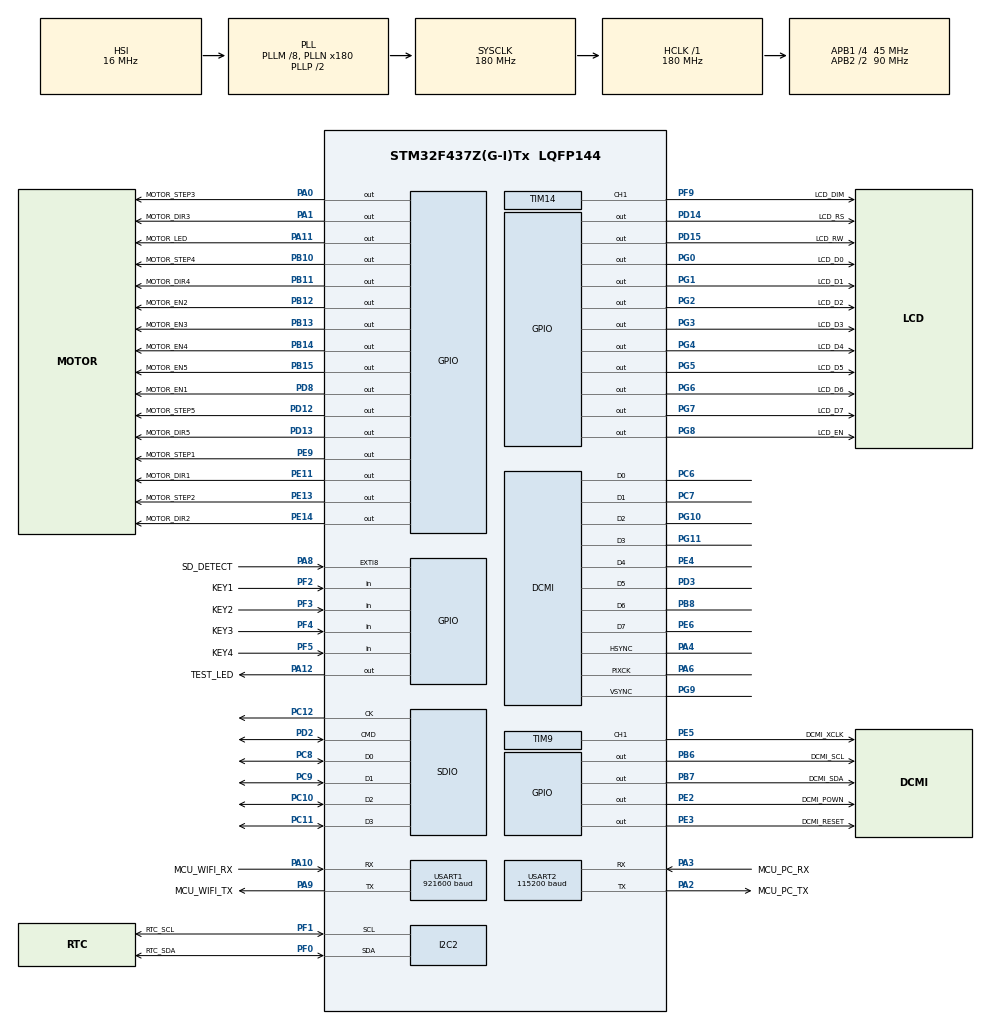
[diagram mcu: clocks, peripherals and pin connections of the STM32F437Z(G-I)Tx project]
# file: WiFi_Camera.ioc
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DCMI.JPEGMode=DCMI_JPEG_ENABLE
DCMI.PCKPolarity=DCMI_PCKPOLARITY_RISING
Dma.DCMI.2.Direction=DMA_PERIPH_TO_MEMORY
Dma.DCMI.2.FIFOMode=DMA_FIFOMODE_ENABLE
Dma.DCMI.2.FIFOThreshold=DMA_FIFO_THRESHOLD_FULL
Dma.DCMI.2.Instance=DMA2_Stream1
Dma.DCMI.2.MemBurst=DMA_MBURST_INC4
Dma.DCMI.2.MemDataAlignment=DMA_MDATAALIGN_WORD
Dma.DCMI.2.MemInc=DMA_MINC_ENABLE
Dma.DCMI.2.Mode=DMA_NORMAL
Dma.DCMI.2.PeriphBurst=DMA_PBURST_SINGLE
Dma.DCMI.2.PeriphDataAlignment=DMA_PDATAALIGN_WORD
Dma.DCMI.2.PeriphInc=DMA_PINC_DISABLE
Dma.DCMI.2.Priority=DMA_PRIORITY_LOW
Dma.Request0=SDIO_RX
Dma.Request1=SDIO_TX
Dma.Request2=DCMI
Dma.Request3=USART1_RX
Dma.Request4=USART1_TX
Dma.SDIO_RX.0.Direction=DMA_PERIPH_TO_MEMORY
Dma.SDIO_RX.0.FIFOMode=DMA_FIFOMODE_ENABLE
Dma.SDIO_RX.0.FIFOThreshold=DMA_FIFO_THRESHOLD_FULL
Dma.SDIO_RX.0.Instance=DMA2_Stream3
Dma.SDIO_RX.0.MemBurst=DMA_MBURST_INC4
Dma.SDIO_RX.0.MemDataAlignment=DMA_MDATAALIGN_WORD
Dma.SDIO_RX.0.MemInc=DMA_MINC_ENABLE
Dma.SDIO_RX.0.Mode=DMA_PFCTRL
Dma.SDIO_RX.0.PeriphBurst=DMA_PBURST_INC4
Dma.SDIO_RX.0.PeriphDataAlignment=DMA_PDATAALIGN_WORD
Dma.SDIO_RX.0.PeriphInc=DMA_PINC_DISABLE
Dma.SDIO_RX.0.Priority=DMA_PRIORITY_VERY_HIGH
Dma.SDIO_TX.1.Direction=DMA_MEMORY_TO_PERIPH
Dma.SDIO_TX.1.FIFOMode=DMA_FIFOMODE_ENABLE
Dma.SDIO_TX.1.FIFOThreshold=DMA_FIFO_THRESHOLD_FULL
Dma.SDIO_TX.1.Instance=DMA2_Stream6
Dma.SDIO_TX.1.MemBurst=DMA_MBURST_INC4
Dma.SDIO_TX.1.MemDataAlignment=DMA_MDATAALIGN_WORD
Dma.SDIO_TX.1.MemInc=DMA_MINC_ENABLE
Dma.SDIO_TX.1.Mode=DMA_PFCTRL
Dma.SDIO_TX.1.PeriphBurst=DMA_PBURST_INC4
Dma.SDIO_TX.1.PeriphDataAlignment=DMA_PDATAALIGN_WORD
Dma.SDIO_TX.1.PeriphInc=DMA_PINC_DISABLE
Dma.SDIO_TX.1.Priority=DMA_PRIORITY_VERY_HIGH
Dma.USART1_RX.3.Direction=DMA_PERIPH_TO_MEMORY
Dma.USART1_RX.3.FIFOMode=DMA_FIFOMODE_DISABLE
Dma.USART1_RX.3.Instance=DMA2_Stream2
Dma.USART1_RX.3.MemDataAlignment=DMA_MDATAALIGN_BYTE
Dma.USART1_RX.3.MemInc=DMA_MINC_ENABLE
Dma.USART1_RX.3.Mode=DMA_NORMAL
Dma.USART1_RX.3.PeriphDataAlignment=DMA_PDATAALIGN_BYTE
Dma.USART1_RX.3.PeriphInc=DMA_PINC_DISABLE
Dma.USART1_RX.3.Priority=DMA_PRIORITY_LOW
Dma.USART1_TX.4.Direction=DMA_MEMORY_TO_PERIPH
Dma.USART1_TX.4.FIFOMode=DMA_FIFOMODE_DISABLE
Dma.USART1_TX.4.Instance=DMA2_Stream7
Dma.USART1_TX.4.MemDataAlignment=DMA_MDATAALIGN_BYTE
Dma.USART1_TX.4.MemInc=DMA_MINC_ENABLE
Dma.USART1_TX.4.Mode=DMA_NORMAL
Dma.USART1_TX.4.PeriphDataAlignment=DMA_PDATAALIGN_BYTE
Dma.USART1_TX.4.PeriphInc=DMA_PINC_DISABLE
Dma.USART1_TX.4.Priority=DMA_PRIORITY_LOW
FREERTOS.INCLUDE_xTimerPendFunctionCall=1
FREERTOS.Tasks01=defaultTask,0,128,StartDefaultTask,Default,NULL
FREERTOS.configMAX_PRIORITIES=10
FREERTOS.configTIMER_TASK_PRIORITY=9
FREERTOS.configUSE_IDLE_HOOK=1
FREERTOS.configUSE_MALLOC_FAILED_HOOK=1
FREERTOS.configUSE_TIMERS=1
FREERTOS.configUSE_TRACE_FACILITY=1
Mcu.Family=STM32F4
Mcu.Name=STM32F437Z(G-I)Tx
Mcu.Package=LQFP144
NVIC.DCMI_IRQn=true\:6\:0\:true\:false\:true\:true\:true
NVIC.DMA2_Stream1_IRQn=true\:7\:0\:true\:false\:true\:true\:false
NVIC.DMA2_Stream2_IRQn=true\:8\:0\:true\:false\:true\:true\:false
NVIC.DMA2_Stream3_IRQn=true\:15\:0\:true\:false\:true\:true\:false
NVIC.DMA2_Stream6_IRQn=true\:15\:0\:true\:false\:true\:true\:false
NVIC.DMA2_Stream7_IRQn=true\:7\:0\:true\:false\:true\:true\:false
NVIC.EXTI9_5_IRQn=true\:13\:0\:true\:false\:true\:true\:true
NVIC.PriorityGroup=NVIC_PRIORITYGROUP_4
NVIC.SDIO_IRQn=true\:14\:0\:true\:false\:true\:true\:true
NVIC.TIM1_UP_TIM10_IRQn=true\:0\:0\:false\:false\:true\:false\:false
NVIC.TIM6_DAC_IRQn=true\:12\:0\:true\:false\:true\:true\:true
NVIC.TIM8_TRG_COM_TIM14_IRQn=true\:5\:0\:false\:false\:true\:true\:true
NVIC.TimeBase=TIM1_UP_TIM10_IRQn
NVIC.TimeBaseIP=TIM1
NVIC.USART1_IRQn=true\:6\:0\:true\:false\:true\:true\:true
NVIC.USART2_IRQn=true\:13\:0\:true\:false\:true\:true\:true
PA0/WKUP.GPIO_Label=MOTOR_STEP3
PA0/WKUP.Signal=GPIO_Output
PA1.GPIO_Label=MOTOR_DIR3
PA1.Signal=GPIO_Output
PA10.GPIO_Label=MCU_WIFI_RX
PA10.Mode=Asynchronous
PA10.Signal=USART1_RX
PA11.GPIO_Label=MOTOR_LED
PA11.Signal=GPIO_Output
PA12.GPIO_Label=TEST_LED
PA12.Signal=GPIO_Output
PA13.Mode=JTAG_5_pins
PA13.Signal=SYS_JTMS-SWDIO
PA14.Mode=JTAG_5_pins
PA14.Signal=SYS_JTCK-SWCLK
PA15.Mode=JTAG_5_pins
PA15.Signal=SYS_JTDI
PA2.GPIO_Label=MCU_PC_TX
PA2.Mode=Asynchronous
PA2.Signal=USART2_TX
PA3.GPIO_Label=MCU_PC_RX
PA3.Mode=Asynchronous
PA3.Signal=USART2_RX
PA4.Mode=Slave_8_bits_External_Synchro
PA4.Signal=DCMI_HSYNC
PA6.Mode=Slave_8_bits_External_Synchro
PA6.Signal=DCMI_PIXCK
PA8.GPIO_Label=SD_DETECT
PA8.GPIO_ModeDefaultEXTI=GPIO_MODE_IT_FALLING
PA8.GPIO_PuPd=GPIO_PULLUP
PA8.Signal=GPXTI8
PA9.GPIO_Label=MCU_WIFI_TX
PA9.Mode=Asynchronous
PA9.Signal=USART1_TX
PB10.GPIO_Label=MOTOR_STEP4
PB10.Signal=GPIO_Output
PB11.GPIO_Label=MOTOR_DIR4
PB11.Signal=GPIO_Output
PB12.GPIO_Label=MOTOR_EN2
PB12.GPIO_PuPd=GPIO_PULLUP
PB12.Signal=GPIO_Output
PB13.GPIO_Label=MOTOR_EN3
PB13.Signal=GPIO_Output
PB14.GPIO_Label=MOTOR_EN4
PB14.Signal=GPIO_Output
PB15.GPIO_Label=MOTOR_EN5
PB15.Signal=GPIO_Output
PB3.Mode=JTAG_5_pins
PB3.Signal=SYS_JTDO-SWO
PB4.Mode=JTAG_5_pins
PB4.Signal=SYS_JTRST
PB6.GPIO_Label=DCMI_SCL
PB6.GPIO_PuPd=GPIO_PULLUP
PB6.GPIO_Speed=GPIO_SPEED_FREQ_HIGH
PB6.Signal=GPIO_Output
PB7.GPIO_Label=DCMI_SDA
PB7.GPIO_PuPd=GPIO_PULLUP
PB7.GPIO_Speed=GPIO_SPEED_FREQ_HIGH
PB7.Signal=GPIO_Output
PB8.Mode=Slave_8_bits_External_Synchro
PB8.Signal=DCMI_D6
PC10.GPIO_PuPd=GPIO_PULLUP
PC10.Mode=SD_4_bits_Wide_bus
PC10.Signal=SDIO_D2
PC11.GPIO_PuPd=GPIO_PULLUP
PC11.Mode=SD_4_bits_Wide_bus
PC11.Signal=SDIO_D3
PC12.GPIO_PuPd=GPIO_PULLUP
PC12.Mode=SD_4_bits_Wide_bus
PC12.Signal=SDIO_CK
PC6.Mode=Slave_8_bits_External_Synchro
PC6.Signal=DCMI_D0
PC7.Mode=Slave_8_bits_External_Synchro
PC7.Signal=DCMI_D1
PC8.GPIO_PuPd=GPIO_PULLUP
PC8.Mode=SD_4_bits_Wide_bus
PC8.Signal=SDIO_D0
PC9.GPIO_PuPd=GPIO_PULLUP
PC9.Mode=SD_4_bits_Wide_bus
PC9.Signal=SDIO_D1
PD12.GPIO_Label=MOTOR_STEP5
PD12.Signal=GPIO_Output
PD13.GPIO_Label=MOTOR_DIR5
PD13.Signal=GPIO_Output
PD14.GPIO_Label=LCD_RS
PD14.GPIO_PuPd=GPIO_PULLUP
PD14.GPIO_Speed=GPIO_SPEED_FREQ_MEDIUM
PD14.Signal=GPIO_Output
PD15.GPIO_Label=LCD_RW
PD15.GPIO_PuPd=GPIO_PULLUP
PD15.GPIO_Speed=GPIO_SPEED_FREQ_MEDIUM
PD15.Signal=GPIO_Output
PD2.GPIO_PuPd=GPIO_PULLUP
PD2.Mode=SD_4_bits_Wide_bus
PD2.Signal=SDIO_CMD
PD3.Mode=Slave_8_bits_External_Synchro
PD3.Signal=DCMI_D5
PD8.GPIO_Label=MOTOR_EN1
PD8.GPIO_PuPd=GPIO_PULLUP
PD8.Signal=GPIO_Output
PE11.GPIO_Label=MOTOR_DIR1
PE11.Signal=GPIO_Output
PE13.GPIO_Label=MOTOR_STEP2
PE13.Signal=GPIO_Output
PE14.GPIO_Label=MOTOR_DIR2
PE14.Signal=GPIO_Output
PE2.GPIO_Label=DCMI_POWN
PE2.GPIO_PuPd=GPIO_PULLUP
PE2.GPIO_Speed=GPIO_SPEED_FREQ_MEDIUM
PE2.Signal=GPIO_Output
PE3.GPIO_Label=DCMI_RESET
PE3.GPIO_PuPd=GPIO_PULLUP
PE3.GPIO_Speed=GPIO_SPEED_FREQ_MEDIUM
PE3.PinState=GPIO_PIN_SET
PE3.Signal=GPIO_Output
PE4.Mode=Slave_8_bits_External_Synchro
PE4.Signal=DCMI_D4
PE5.GPIO_Label=DCMI_XCLK
PE5.GPIO_Speed=GPIO_SPEED_FREQ_HIGH
PE5.Signal=S_TIM9_CH1
PE6.Mode=Slave_8_bits_External_Synchro
PE6.Signal=DCMI_D7
PE9.GPIO_Label=MOTOR_STEP1
PE9.Signal=GPIO_Output
PF0.GPIO_Label=RTC_SDA
PF0.Mode=I2C
PF0.Signal=I2C2_SDA
PF1.GPIO_Label=RTC_SCL
PF1.Mode=I2C
PF1.Signal=I2C2_SCL
PF2.GPIO_Label=KEY1
PF2.GPIO_PuPd=GPIO_PULLUP
PF2.Signal=GPIO_Input
PF3.GPIO_Label=KEY2
PF3.GPIO_PuPd=GPIO_PULLUP
PF3.Signal=GPIO_Input
PF4.GPIO_Label=KEY3
PF4.GPIO_PuPd=GPIO_PULLUP
PF4.Signal=GPIO_Input
PF5.GPIO_Label=KEY4
PF5.GPIO_PuPd=GPIO_PULLUP
PF5.Signal=GPIO_Input
PF9.GPIO_Label=LCD_DIM
PF9.Signal=S_TIM14_CH1
PG0.GPIO_Label=LCD_D0
PG0.GPIO_PuPd=GPIO_PULLUP
PG0.GPIO_Speed=GPIO_SPEED_FREQ_MEDIUM
PG0.Signal=GPIO_Output
PG1.GPIO_Label=LCD_D1
PG1.GPIO_PuPd=GPIO_PULLUP
PG1.GPIO_Speed=GPIO_SPEED_FREQ_MEDIUM
PG1.Signal=GPIO_Output
PG10.Mode=Slave_8_bits_External_Synchro
PG10.Signal=DCMI_D2
PG11.Mode=Slave_8_bits_External_Synchro
PG11.Signal=DCMI_D3
PG2.GPIO_Label=LCD_D2
PG2.GPIO_PuPd=GPIO_PULLUP
PG2.GPIO_Speed=GPIO_SPEED_FREQ_MEDIUM
PG2.Signal=GPIO_Output
PG3.GPIO_Label=LCD_D3
PG3.GPIO_PuPd=GPIO_PULLUP
PG3.GPIO_Speed=GPIO_SPEED_FREQ_MEDIUM
PG3.Signal=GPIO_Output
PG4.GPIO_Label=LCD_D4
PG4.GPIO_PuPd=GPIO_PULLUP
PG4.GPIO_Speed=GPIO_SPEED_FREQ_MEDIUM
PG4.Signal=GPIO_Output
PG5.GPIO_Label=LCD_D5
PG5.GPIO_PuPd=GPIO_PULLUP
PG5.GPIO_Speed=GPIO_SPEED_FREQ_MEDIUM
PG5.Signal=GPIO_Output
PG6.GPIO_Label=LCD_D6
PG6.GPIO_PuPd=GPIO_PULLUP
PG6.GPIO_Speed=GPIO_SPEED_FREQ_MEDIUM
PG6.Signal=GPIO_Output
PG7.GPIO_Label=LCD_D7
PG7.GPIO_PuPd=GPIO_PULLUP
PG7.GPIO_Speed=GPIO_SPEED_FREQ_MEDIUM
PG7.Signal=GPIO_Output
PG8.GPIO_Label=LCD_EN
PG8.GPIO_PuPd=GPIO_PULLUP
PG8.GPIO_Speed=GPIO_SPEED_FREQ_LOW
PG8.Signal=GPIO_Output
PG9.Mode=Slave_8_bits_External_Synchro
PG9.Signal=DCMI_VSYNC
ProjectManager.HeapSize=0x200
ProjectManager.StackSize=0x400
ProjectManager.TargetToolchain=EWARM
RCC.48MHZClocksFreq_Value=45000000
RCC.AHBFreq_Value=180000000
RCC.APB1CLKDivider=RCC_HCLK_DIV4
RCC.APB1Freq_Value=45000000
RCC.APB1TimFreq_Value=90000000
RCC.APB2CLKDivider=RCC_HCLK_DIV2
RCC.APB2Freq_Value=90000000
RCC.APB2TimFreq_Value=180000000
RCC.CortexFreq_Value=180000000
RCC.HCLKFreq_Value=180000000
RCC.HSE_VALUE=25000000
RCC.HSI_VALUE=16000000
RCC.LSE_VALUE=32768
RCC.PLLM=8
RCC.PLLN=180
RCC.PLLQ=8
RCC.SYSCLKFreq_VALUE=180000000
RCC.SYSCLKSource=RCC_SYSCLKSOURCE_PLLCLK
RCC.VCOOutputFreq_Value=360000000
RTC.Date=25
RTC.Hours=22
RTC.Minutes=5
RTC.Month=RTC_MONTH_FEBRUARY
RTC.WeekDay=RTC_WEEKDAY_SUNDAY
RTC.Year=18
SDIO.HardwareFlowControl=SDIO_HARDWARE_FLOW_CONTROL_ENABLE
SH.S_TIM14_CH1.0=TIM14_CH1,PWM Generation1 CH1
SH.S_TIM9_CH1.0=TIM9_CH1,PWM Generation1 CH1
TIM14.Channel=TIM_CHANNEL_1
TIM14.Period=10
TIM14.Prescaler=90
TIM14.Pulse=0
TIM6.Period=1000
TIM6.Prescaler=180
TIM9.Channel-PWM\ Generation1\ CH1=TIM_CHANNEL_1
TIM9.Period=10
TIM9.Prescaler=0
TIM9.Pulse-PWM\ Generation1\ CH1=5
USART1.BaudRate=921600
USART1.VirtualMode=VM_ASYNC
USART2.BaudRate=115200
USART2.VirtualMode=VM_ASYNC
VP_FATFS_VS_SDIO.Mode=SDIO
VP_FREERTOS_VS_ENABLE.Mode=Enabled
VP_RTC_VS_RTC_Activate.Mode=RTC_Enabled
VP_RTC_VS_RTC_Calendar.Mode=RTC_Calendar
VP_SYS_VS_tim1.Mode=TIM1
VP_TIM14_VS_ClockSourceINT.Mode=Enable_Timer
VP_TIM6_VS_ClockSourceINT.Mode=Enable_Timer
VP_TIM9_VS_ClockSourceINT.Mode=Internal
board=WiFi_Camera

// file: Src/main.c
/**
******************************************************************************
* File Name          : main.c
* Description        : Main program body
******************************************************************************
* This notice applies to any and all portions of this file
* that are not between comment pairs USER CODE BEGIN and
* USER CODE END. Other portions of this file, whether
* inserted by the user or by software development tools
* are owned by their respective copyright owners.
*
* Copyright (c) 2018 STMicroelectronics International N.V.
* All rights reserved.
*
* Redistribution and use in source and binary forms, with or without
* modification, are permitted, provided that the following conditions are met:
*
* 1. Redistribution of source code must retain the above copyright notice,
*    this list of conditions and the following disclaimer.
* 2. Redistributions in binary form must reproduce the above copyright notice,
*    this list of conditions and the following disclaimer in the documentation
*    and/or other materials provided with the distribution.
* 3. Neither the name of STMicroelectronics nor the names of other
*    contributors to this software may be used to endorse or promote products
*    derived from this software without specific written permission.
* 4. This software, including modifications and/or derivative works of this
*    software, must execute solely and exclusively on microcontroller or
*    microprocessor devices manufactured by or for STMicroelectronics.
* 5. Redistribution and use of this software other than as permitted under
*    this license is void and will automatically terminate your rights under
*    this license.
*
* THIS SOFTWARE IS PROVIDED BY STMICROELECTRONICS AND CONTRIBUTORS "AS IS"
* AND ANY EXPRESS, IMPLIED OR STATUTORY WARRANTIES, INCLUDING, BUT NOT
* LIMITED TO, THE IMPLIED WARRANTIES OF MERCHANTABILITY, FITNESS FOR A
* PARTICULAR PURPOSE AND NON-INFRINGEMENT OF THIRD PARTY INTELLECTUAL PROPERTY
* RIGHTS ARE DISCLAIMED TO THE FULLEST EXTENT PERMITTED BY LAW. IN NO EVENT
* SHALL STMICROELECTRONICS OR CONTRIBUTORS BE LIABLE FOR ANY DIRECT, INDIRECT,
* INCIDENTAL, SPECIAL, EXEMPLARY, OR CONSEQUENTIAL DAMAGES (INCLUDING, BUT NOT
* LIMITED TO, PROCUREMENT OF SUBSTITUTE GOODS OR SERVICES; LOSS OF USE, DATA,
* OR PROFITS; OR BUSINESS INTERRUPTION) HOWEVER CAUSED AND ON ANY THEORY OF
* LIABILITY, WHETHER IN CONTRACT, STRICT LIABILITY, OR TORT (INCLUDING
* NEGLIGENCE OR OTHERWISE) ARISING IN ANY WAY OUT OF THE USE OF THIS SOFTWARE,
* EVEN IF ADVISED OF THE POSSIBILITY OF SUCH DAMAGE.
*
******************************************************************************
*/

#include "main.h"
#include "stm32f4xx_hal.h"
#include "cmsis_os.h"
#include "fatfs.h"

/* USER CODE BEGIN Includes */
#include "wifi_task.h"
#include "client_task.h"
#include "motor_task.h"
#include "display_task.h"
#include "camera_task.h"
#include "debug_task.h"
#include "global_config.h"
#include "util.h"

/* USER CODE END Includes */

DCMI_HandleTypeDef hdcmi;
DMA_HandleTypeDef hdma_dcmi;

I2C_HandleTypeDef hi2c2;

RTC_HandleTypeDef hrtc;
RTC_TimeTypeDef sTime;
RTC_DateTypeDef sDate;

SD_HandleTypeDef hsd;
DMA_HandleTypeDef hdma_sdio_rx;
DMA_HandleTypeDef hdma_sdio_tx;

TIM_HandleTypeDef htim6;
TIM_HandleTypeDef htim9;
TIM_HandleTypeDef htim14;

UART_HandleTypeDef huart1;
UART_HandleTypeDef huart2;
DMA_HandleTypeDef hdma_usart1_rx;
DMA_HandleTypeDef hdma_usart1_tx;

osThreadId defaultTaskHandle;

/* USER CODE BEGIN PV */
/* Private variables ---------------------------------------------------------*/

/* USER CODE END PV */

void SystemClock_Config(void);
static void MX_GPIO_Init(void);
static void MX_DMA_Init(void);
static void MX_DCMI_Init(void);
static void MX_I2C2_Init(void);
static void MX_SDIO_SD_Init(void);
static void MX_TIM9_Init(void);
static void MX_TIM14_Init(void);
static void MX_USART1_UART_Init(void);
static void MX_USART2_UART_Init(void);
static void MX_TIM6_Init(void);
static void MX_RTC_Init(void);
void StartDefaultTask(void const * argument);

void HAL_TIM_MspPostInit(TIM_HandleTypeDef *htim);

/* USER CODE BEGIN PFP */
/* Private function prototypes -----------------------------------------------*/

/* USER CODE END PFP */

int main(void)
{

    /* MCU Configuration----------------------------------------------------------*/

    /* Reset of all peripherals, Initializes the Flash interface and the Systick. */
    HAL_Init();

    /* USER CODE BEGIN Init */
    Mem_ReadInfo();
    Mem_ReadConfig();
    /* USER CODE END Init */

    /* Configure the system clock */
    SystemClock_Config();

    /* USER CODE BEGIN SysInit */
#if 1
    /* USER CODE END SysInit */

    /* Initialize all configured peripherals */
    MX_GPIO_Init();
    MX_DMA_Init();
    MX_DCMI_Init();
    MX_I2C2_Init();
    MX_SDIO_SD_Init();
    MX_TIM9_Init();
    MX_TIM14_Init();
    MX_USART1_UART_Init();
    MX_USART2_UART_Init();
    MX_TIM6_Init();
    MX_RTC_Init();

    /* USER CODE BEGIN 2 */
#else
    MX_GPIO_Init();
    MX_DMA_Init();
    MX_DCMI_Init();
    MX_I2C2_Init();
    //    MX_SDIO_SD_Init();
    MX_TIM9_Init();
    MX_TIM14_Init();
    MX_USART1_UART_Init();
    MX_USART2_UART_Init();
    MX_TIM6_Init();
    MX_RTC_Init();
#endif
    /* USER CODE END 2 */

    /* Create the thread(s) */
    /* definition and creation of defaultTask */
    osThreadDef(defaultTask, StartDefaultTask, osPriorityNormal, 0, 128);
    defaultTaskHandle = osThreadCreate(osThread(defaultTask), NULL);

    /* Start scheduler */
    osKernelStart();

    /* We should never get here as control is now taken by the scheduler */

    /* Infinite loop */
    while (1)
    {

    }

}

/** System Clock Configuration
*/
void SystemClock_Config(void)
{

    RCC_OscInitTypeDef RCC_OscInitStruct;
    RCC_ClkInitTypeDef RCC_ClkInitStruct;
    RCC_PeriphCLKInitTypeDef PeriphClkInitStruct;

    /**Configure the main internal regulator output voltage
    */
    __HAL_RCC_PWR_CLK_ENABLE();

    __HAL_PWR_VOLTAGESCALING_CONFIG(PWR_REGULATOR_VOLTAGE_SCALE1);

    /**Initializes the CPU, AHB and APB busses clocks
    */
    RCC_OscInitStruct.OscillatorType = RCC_OSCILLATORTYPE_HSI|RCC_OSCILLATORTYPE_LSI;
    RCC_OscInitStruct.HSIState = RCC_HSI_ON;
    RCC_OscInitStruct.HSICalibrationValue = 16;
    RCC_OscInitStruct.LSIState = RCC_LSI_ON;
    RCC_OscInitStruct.PLL.PLLState = RCC_PLL_ON;
    RCC_OscInitStruct.PLL.PLLSource = RCC_PLLSOURCE_HSI;
    RCC_OscInitStruct.PLL.PLLM = 8;
    RCC_OscInitStruct.PLL.PLLN = 180;
    RCC_OscInitStruct.PLL.PLLP = RCC_PLLP_DIV2;
    RCC_OscInitStruct.PLL.PLLQ = 8;
    if (HAL_RCC_OscConfig(&RCC_OscInitStruct) != HAL_OK)
    {
        _Error_Handler(__FILE__, __LINE__);
    }

    /**Activate the Over-Drive mode
    */
    if (HAL_PWREx_EnableOverDrive() != HAL_OK)
    {
        _Error_Handler(__FILE__, __LINE__);
    }

    /**Initializes the CPU, AHB and APB busses clocks
    */
    RCC_ClkInitStruct.ClockType = RCC_CLOCKTYPE_HCLK|RCC_CLOCKTYPE_SYSCLK
        |RCC_CLOCKTYPE_PCLK1|RCC_CLOCKTYPE_PCLK2;
    RCC_ClkInitStruct.SYSCLKSource = RCC_SYSCLKSOURCE_PLLCLK;
    RCC_ClkInitStruct.AHBCLKDivider = RCC_SYSCLK_DIV1;
    RCC_ClkInitStruct.APB1CLKDivider = RCC_HCLK_DIV4;
    RCC_ClkInitStruct.APB2CLKDivider = RCC_HCLK_DIV2;

    if (HAL_RCC_ClockConfig(&RCC_ClkInitStruct, FLASH_LATENCY_5) != HAL_OK)
    {
        _Error_Handler(__FILE__, __LINE__);
    }

    PeriphClkInitStruct.PeriphClockSelection = RCC_PERIPHCLK_RTC;
    PeriphClkInitStruct.RTCClockSelection = RCC_RTCCLKSOURCE_LSI;
    if (HAL_RCCEx_PeriphCLKConfig(&PeriphClkInitStruct) != HAL_OK)
    {
        _Error_Handler(__FILE__, __LINE__);
    }

    /**Configure the Systick interrupt time
    */
    HAL_SYSTICK_Config(HAL_RCC_GetHCLKFreq()/1000);

    /**Configure the Systick
    */
    HAL_SYSTICK_CLKSourceConfig(SYSTICK_CLKSOURCE_HCLK);

    /* SysTick_IRQn interrupt configuration */
    HAL_NVIC_SetPriority(SysTick_IRQn, 15, 0);
}

/* DCMI init function */
static void MX_DCMI_Init(void)
{

    hdcmi.Instance = DCMI;
    hdcmi.Init.SynchroMode = DCMI_SYNCHRO_HARDWARE;
    hdcmi.Init.PCKPolarity = DCMI_PCKPOLARITY_RISING;
    hdcmi.Init.VSPolarity = DCMI_VSPOLARITY_LOW;
    hdcmi.Init.HSPolarity = DCMI_HSPOLARITY_LOW;
    hdcmi.Init.CaptureRate = DCMI_CR_ALL_FRAME;
    hdcmi.Init.ExtendedDataMode = DCMI_EXTEND_DATA_8B;
    hdcmi.Init.JPEGMode = DCMI_JPEG_ENABLE;
    if (HAL_DCMI_Init(&hdcmi) != HAL_OK)
    {
        _Error_Handler(__FILE__, __LINE__);
    }

}

/* I2C2 init function */
static void MX_I2C2_Init(void)
{

    hi2c2.Instance = I2C2;
    hi2c2.Init.ClockSpeed = 100000;
    hi2c2.Init.DutyCycle = I2C_DUTYCYCLE_2;
    hi2c2.Init.OwnAddress1 = 0;
    hi2c2.Init.AddressingMode = I2C_ADDRESSINGMODE_7BIT;
    hi2c2.Init.DualAddressMode = I2C_DUALADDRESS_DISABLE;
    hi2c2.Init.OwnAddress2 = 0;
    hi2c2.Init.GeneralCallMode = I2C_GENERALCALL_DISABLE;
    hi2c2.Init.NoStretchMode = I2C_NOSTRETCH_DISABLE;
    if (HAL_I2C_Init(&hi2c2) != HAL_OK)
    {
        _Error_Handler(__FILE__, __LINE__);
    }

}

/* RTC init function */
static void MX_RTC_Init(void)
{

    /**Initialize RTC Only
    */
    hrtc.Instance = RTC;
    hrtc.Init.HourFormat = RTC_HOURFORMAT_24;
    hrtc.Init.AsynchPrediv = 127;
    hrtc.Init.SynchPrediv = 255;
    hrtc.Init.OutPut = RTC_OUTPUT_DISABLE;
    hrtc.Init.OutPutPolarity = RTC_OUTPUT_POLARITY_HIGH;
    hrtc.Init.OutPutType = RTC_OUTPUT_TYPE_OPENDRAIN;
    if (HAL_RTC_Init(&hrtc) != HAL_OK)
    {
        _Error_Handler(__FILE__, __LINE__);
    }

    /**Initialize RTC and set the Time and Date
    */
    if(HAL_RTCEx_BKUPRead(&hrtc, RTC_BKP_DR0) != 0x32F2){
        if (HAL_RTC_SetTime(&hrtc, &sTime, RTC_FORMAT_BCD) != HAL_OK)
        {
            _Error_Handler(__FILE__, __LINE__);
        }

        if (HAL_RTC_SetDate(&hrtc, &sDate, RTC_FORMAT_BCD) != HAL_OK)
        {
            _Error_Handler(__FILE__, __LINE__);
        }

        HAL_RTCEx_BKUPWrite(&hrtc,RTC_BKP_DR0,0x32F2);
    }

}

/* SDIO init function */
static void MX_SDIO_SD_Init(void)
{

    hsd.Instance = SDIO;
    hsd.Init.ClockEdge = SDIO_CLOCK_EDGE_RISING;
    hsd.Init.ClockBypass = SDIO_CLOCK_BYPASS_DISABLE;
    hsd.Init.ClockPowerSave = SDIO_CLOCK_POWER_SAVE_DISABLE;
    hsd.Init.BusWide = SDIO_BUS_WIDE_1B;
    hsd.Init.HardwareFlowControl = SDIO_HARDWARE_FLOW_CONTROL_ENABLE;
    hsd.Init.ClockDiv = 0;

}

/* TIM6 init function */
static void MX_TIM6_Init(void)
{

    TIM_MasterConfigTypeDef sMasterConfig;

    htim6.Instance = TIM6;
    htim6.Init.Prescaler = 180;
    htim6.Init.CounterMode = TIM_COUNTERMODE_UP;
    htim6.Init.Period = 1000;
    if (HAL_TIM_Base_Init(&htim6) != HAL_OK)
    {
        _Error_Handler(__FILE__, __LINE__);
    }

    sMasterConfig.MasterOutputTrigger = TIM_TRGO_RESET;
    sMasterConfig.MasterSlaveMode = TIM_MASTERSLAVEMODE_DISABLE;
    if (HAL_TIMEx_MasterConfigSynchronization(&htim6, &sMasterConfig) != HAL_OK)
    {
        _Error_Handler(__FILE__, __LINE__);
    }

}

/* TIM9 init function */
static void MX_TIM9_Init(void)
{

    TIM_ClockConfigTypeDef sClockSourceConfig;
    TIM_OC_InitTypeDef sConfigOC;

    htim9.Instance = TIM9;
    htim9.Init.Prescaler = 0;
    htim9.Init.CounterMode = TIM_COUNTERMODE_UP;
    htim9.Init.Period = 10;
    htim9.Init.ClockDivision = TIM_CLOCKDIVISION_DIV1;
    if (HAL_TIM_Base_Init(&htim9) != HAL_OK)
    {
        _Error_Handler(__FILE__, __LINE__);
    }

    sClockSourceConfig.ClockSource = TIM_CLOCKSOURCE_INTERNAL;
    if (HAL_TIM_ConfigClockSource(&htim9, &sClockSourceConfig) != HAL_OK)
    {
        _Error_Handler(__FILE__, __LINE__);
    }

    if (HAL_TIM_PWM_Init(&htim9) != HAL_OK)
    {
        _Error_Handler(__FILE__, __LINE__);
    }

    sConfigOC.OCMode = TIM_OCMODE_PWM1;
    sConfigOC.Pulse = 5;
    sConfigOC.OCPolarity = TIM_OCPOLARITY_HIGH;
    sConfigOC.OCFastMode = TIM_OCFAST_DISABLE;
    if (HAL_TIM_PWM_ConfigChannel(&htim9, &sConfigOC, TIM_CHANNEL_1) != HAL_OK)
    {
        _Error_Handler(__FILE__, __LINE__);
    }

    HAL_TIM_MspPostInit(&htim9);

}

/* TIM14 init function */
static void MX_TIM14_Init(void)
{

    TIM_OC_InitTypeDef sConfigOC;

    htim14.Instance = TIM14;
    htim14.Init.Prescaler = 90;
    htim14.Init.CounterMode = TIM_COUNTERMODE_UP;
    htim14.Init.Period = 10;
    htim14.Init.ClockDivision = TIM_CLOCKDIVISION_DIV1;
    if (HAL_TIM_Base_Init(&htim14) != HAL_OK)
    {
        _Error_Handler(__FILE__, __LINE__);
    }

    if (HAL_TIM_PWM_Init(&htim14) != HAL_OK)
    {
        _Error_Handler(__FILE__, __LINE__);
    }

    sConfigOC.OCMode = TIM_OCMODE_PWM1;
    sConfigOC.Pulse = 0;
    sConfigOC.OCPolarity = TIM_OCPOLARITY_HIGH;
    sConfigOC.OCFastMode = TIM_OCFAST_DISABLE;
    if (HAL_TIM_PWM_ConfigChannel(&htim14, &sConfigOC, TIM_CHANNEL_1) != HAL_OK)
    {
        _Error_Handler(__FILE__, __LINE__);
    }

    HAL_TIM_MspPostInit(&htim14);

}

/* USART1 init function */
static void MX_USART1_UART_Init(void)
{

    huart1.Instance = USART1;
    huart1.Init.BaudRate = 921600;
    huart1.Init.WordLength = UART_WORDLENGTH_8B;
    huart1.Init.StopBits = UART_STOPBITS_1;
    huart1.Init.Parity = UART_PARITY_NONE;
    huart1.Init.Mode = UART_MODE_TX_RX;
    huart1.Init.HwFlowCtl = UART_HWCONTROL_NONE;
    huart1.Init.OverSampling = UART_OVERSAMPLING_16;
    if (HAL_UART_Init(&huart1) != HAL_OK)
    {
        _Error_Handler(__FILE__, __LINE__);
    }

}

/* USART2 init function */
static void MX_USART2_UART_Init(void)
{

    huart2.Instance = USART2;
    huart2.Init.BaudRate = 115200;
    huart2.Init.WordLength = UART_WORDLENGTH_8B;
    huart2.Init.StopBits = UART_STOPBITS_1;
    huart2.Init.Parity = UART_PARITY_NONE;
    huart2.Init.Mode = UART_MODE_TX_RX;
    huart2.Init.HwFlowCtl = UART_HWCONTROL_NONE;
    huart2.Init.OverSampling = UART_OVERSAMPLING_16;
    if (HAL_UART_Init(&huart2) != HAL_OK)
    {
        _Error_Handler(__FILE__, __LINE__);
    }

}

static void MX_DMA_Init(void)
{
    /* DMA controller clock enable */
    __HAL_RCC_DMA2_CLK_ENABLE();

    /* DMA interrupt init */
    /* DMA2_Stream1_IRQn interrupt configuration */
    HAL_NVIC_SetPriority(DMA2_Stream1_IRQn, 7, 0);
    HAL_NVIC_EnableIRQ(DMA2_Stream1_IRQn);
    /* DMA2_Stream2_IRQn interrupt configuration */
    HAL_NVIC_SetPriority(DMA2_Stream2_IRQn, 8, 0);
    HAL_NVIC_EnableIRQ(DMA2_Stream2_IRQn);
    /* DMA2_Stream3_IRQn interrupt configuration */
    HAL_NVIC_SetPriority(DMA2_Stream3_IRQn, 15, 0);
    HAL_NVIC_EnableIRQ(DMA2_Stream3_IRQn);
    /* DMA2_Stream6_IRQn interrupt configuration */
    HAL_NVIC_SetPriority(DMA2_Stream6_IRQn, 15, 0);
    HAL_NVIC_EnableIRQ(DMA2_Stream6_IRQn);
    /* DMA2_Stream7_IRQn interrupt configuration */
    HAL_NVIC_SetPriority(DMA2_Stream7_IRQn, 7, 0);
    HAL_NVIC_EnableIRQ(DMA2_Stream7_IRQn);

}

/** Configure pins as
* Analog
* Input
* Output
* EVENT_OUT
* EXTI
*/
static void MX_GPIO_Init(void)
{

    GPIO_InitTypeDef GPIO_InitStruct;

    /* GPIO Ports Clock Enable */
    __HAL_RCC_GPIOE_CLK_ENABLE();
    __HAL_RCC_GPIOF_CLK_ENABLE();
    __HAL_RCC_GPIOA_CLK_ENABLE();
    __HAL_RCC_GPIOG_CLK_ENABLE();
    __HAL_RCC_GPIOB_CLK_ENABLE();
    __HAL_RCC_GPIOD_CLK_ENABLE();
    __HAL_RCC_GPIOC_CLK_ENABLE();

    /*Configure GPIO pin Output Level */
    HAL_GPIO_WritePin(GPIOE, DCMI_POWN_Pin|MOTOR_STEP1_Pin|MOTOR_DIR1_Pin|MOTOR_STEP2_Pin
                      |MOTOR_DIR2_Pin, GPIO_PIN_RESET);

    /*Configure GPIO pin Output Level */
    HAL_GPIO_WritePin(DCMI_RESET_GPIO_Port, DCMI_RESET_Pin, GPIO_PIN_SET);

    /*Configure GPIO pin Output Level */
    HAL_GPIO_WritePin(GPIOA, MOTOR_STEP3_Pin|MOTOR_DIR3_Pin|MOTOR_LED_Pin|TEST_LED_Pin, GPIO_PIN_RESET);

    /*Configure GPIO pin Output Level */
    HAL_GPIO_WritePin(GPIOG, LCD_D0_Pin|LCD_D1_Pin|LCD_D2_Pin|LCD_D3_Pin
                      |LCD_D4_Pin|LCD_D5_Pin|LCD_D6_Pin|LCD_D7_Pin
                          |LCD_EN_Pin, GPIO_PIN_RESET);

    /*Configure GPIO pin Output Level */
    HAL_GPIO_WritePin(GPIOB, MOTOR_STEP4_Pin|MOTOR_DIR4_Pin|MOTOR_EN2_Pin|MOTOR_EN3_Pin
                      |MOTOR_EN4_Pin|MOTOR_EN5_Pin|DCMI_SCL_Pin|DCMI_SDA_Pin, GPIO_PIN_RESET);

    /*Configure GPIO pin Output Level */
    HAL_GPIO_WritePin(GPIOD, MOTOR_EN1_Pin|MOTOR_STEP5_Pin|MOTOR_DIR5_Pin|LCD_RS_Pin
                      |LCD_RW_Pin, GPIO_PIN_RESET);

    /*Configure GPIO pins : DCMI_POWN_Pin DCMI_RESET_Pin */
    GPIO_InitStruct.Pin = DCMI_POWN_Pin|DCMI_RESET_Pin;
    GPIO_InitStruct.Mode = GPIO_MODE_OUTPUT_PP;
    GPIO_InitStruct.Pull = GPIO_PULLUP;
    GPIO_InitStruct.Speed = GPIO_SPEED_FREQ_MEDIUM;
    HAL_GPIO_Init(GPIOE, &GPIO_InitStruct);

    /*Configure GPIO pins : KEY1_Pin KEY2_Pin KEY3_Pin KEY4_Pin */
    GPIO_InitStruct.Pin = KEY1_Pin|KEY2_Pin|KEY3_Pin|KEY4_Pin;
    GPIO_InitStruct.Mode = GPIO_MODE_INPUT;
    GPIO_InitStruct.Pull = GPIO_PULLUP;
    HAL_GPIO_Init(GPIOF, &GPIO_InitStruct);

    /*Configure GPIO pins : MOTOR_STEP3_Pin MOTOR_DIR3_Pin MOTOR_LED_Pin TEST_LED_Pin */
    GPIO_InitStruct.Pin = MOTOR_STEP3_Pin|MOTOR_DIR3_Pin|MOTOR_LED_Pin|TEST_LED_Pin;
    GPIO_InitStruct.Mode = GPIO_MODE_OUTPUT_PP;
    GPIO_InitStruct.Pull = GPIO_NOPULL;
    GPIO_InitStruct.Speed = GPIO_SPEED_FREQ_LOW;
    HAL_GPIO_Init(GPIOA, &GPIO_InitStruct);

    /*Configure GPIO pins : LCD_D0_Pin LCD_D1_Pin LCD_D2_Pin LCD_D3_Pin
    LCD_D4_Pin LCD_D5_Pin LCD_D6_Pin LCD_D7_Pin */
    GPIO_InitStruct.Pin = LCD_D0_Pin|LCD_D1_Pin|LCD_D2_Pin|LCD_D3_Pin
        |LCD_D4_Pin|LCD_D5_Pin|LCD_D6_Pin|LCD_D7_Pin;
    GPIO_InitStruct.Mode = GPIO_MODE_OUTPUT_PP;
    GPIO_InitStruct.Pull = GPIO_PULLUP;
    GPIO_InitStruct.Speed = GPIO_SPEED_FREQ_MEDIUM;
    HAL_GPIO_Init(GPIOG, &GPIO_InitStruct);

    /*Configure GPIO pins : MOTOR_STEP1_Pin MOTOR_DIR1_Pin MOTOR_STEP2_Pin MOTOR_DIR2_Pin */
    GPIO_InitStruct.Pin = MOTOR_STEP1_Pin|MOTOR_DIR1_Pin|MOTOR_STEP2_Pin|MOTOR_DIR2_Pin;
    GPIO_InitStruct.Mode = GPIO_MODE_OUTPUT_PP;
    GPIO_InitStruct.Pull = GPIO_NOPULL;
    GPIO_InitStruct.Speed = GPIO_SPEED_FREQ_LOW;
    HAL_GPIO_Init(GPIOE, &GPIO_InitStruct);

    /*Configure GPIO pins : MOTOR_STEP4_Pin MOTOR_DIR4_Pin MOTOR_EN3_Pin MOTOR_EN4_Pin
    MOTOR_EN5_Pin */
    GPIO_InitStruct.Pin = MOTOR_STEP4_Pin|MOTOR_DIR4_Pin|MOTOR_EN3_Pin|MOTOR_EN4_Pin
        |MOTOR_EN5_Pin;
    GPIO_InitStruct.Mode = GPIO_MODE_OUTPUT_PP;
    GPIO_InitStruct.Pull = GPIO_NOPULL;
    GPIO_InitStruct.Speed = GPIO_SPEED_FREQ_LOW;
    HAL_GPIO_Init(GPIOB, &GPIO_InitStruct);

    /*Configure GPIO pin : MOTOR_EN2_Pin */
    GPIO_InitStruct.Pin = MOTOR_EN2_Pin;
    GPIO_InitStruct.Mode = GPIO_MODE_OUTPUT_PP;
    GPIO_InitStruct.Pull = GPIO_PULLUP;
    GPIO_InitStruct.Speed = GPIO_SPEED_FREQ_LOW;
    HAL_GPIO_Init(MOTOR_EN2_GPIO_Port, &GPIO_InitStruct);

    /*Configure GPIO pin : MOTOR_EN1_Pin */
    GPIO_InitStruct.Pin = MOTOR_EN1_Pin;
    GPIO_InitStruct.Mode = GPIO_MODE_OUTPUT_PP;
    GPIO_InitStruct.Pull = GPIO_PULLUP;
    GPIO_InitStruct.Speed = GPIO_SPEED_FREQ_LOW;
    HAL_GPIO_Init(MOTOR_EN1_GPIO_Port, &GPIO_InitStruct);

    /*Configure GPIO pins : MOTOR_STEP5_Pin MOTOR_DIR5_Pin */
    GPIO_InitStruct.Pin = MOTOR_STEP5_Pin|MOTOR_DIR5_Pin;
    GPIO_InitStruct.Mode = GPIO_MODE_OUTPUT_PP;
    GPIO_InitStruct.Pull = GPIO_NOPULL;
    GPIO_InitStruct.Speed = GPIO_SPEED_FREQ_LOW;
    HAL_GPIO_Init(GPIOD, &GPIO_InitStruct);

    /*Configure GPIO pins : LCD_RS_Pin LCD_RW_Pin */
    GPIO_InitStruct.Pin = LCD_RS_Pin|LCD_RW_Pin;
    GPIO_InitStruct.Mode = GPIO_MODE_OUTPUT_PP;
    GPIO_InitStruct.Pull = GPIO_PULLUP;
    GPIO_InitStruct.Speed = GPIO_SPEED_FREQ_MEDIUM;
    HAL_GPIO_Init(GPIOD, &GPIO_InitStruct);

    /*Configure GPIO pin : LCD_EN_Pin */
    GPIO_InitStruct.Pin = LCD_EN_Pin;
    GPIO_InitStruct.Mode = GPIO_MODE_OUTPUT_PP;
    GPIO_InitStruct.Pull = GPIO_PULLUP;
    GPIO_InitStruct.Speed = GPIO_SPEED_FREQ_LOW;
    HAL_GPIO_Init(LCD_EN_GPIO_Port, &GPIO_InitStruct);

    /*Configure GPIO pin : SD_DETECT_Pin */
    GPIO_InitStruct.Pin = SD_DETECT_Pin;
    GPIO_InitStruct.Mode = GPIO_MODE_IT_FALLING;
    GPIO_InitStruct.Pull = GPIO_PULLUP;
    HAL_GPIO_Init(SD_DETECT_GPIO_Port, &GPIO_InitStruct);

    /*Configure GPIO pins : DCMI_SCL_Pin DCMI_SDA_Pin */
    GPIO_InitStruct.Pin = DCMI_SCL_Pin|DCMI_SDA_Pin;
    GPIO_InitStruct.Mode = GPIO_MODE_OUTPUT_PP;
    GPIO_InitStruct.Pull = GPIO_PULLUP;
    GPIO_InitStruct.Speed = GPIO_SPEED_FREQ_HIGH;
    HAL_GPIO_Init(GPIOB, &GPIO_InitStruct);

    /* EXTI interrupt init*/
    HAL_NVIC_SetPriority(EXTI9_5_IRQn, 13, 0);
    HAL_NVIC_EnableIRQ(EXTI9_5_IRQn);

}

/* StartDefaultTask function */
void StartDefaultTask(void const * argument)
{
    /* init code for FATFS */
    MX_FATFS_Init();

    /* USER CODE BEGIN 5 */
  	uint16_t key_press_time = 0;

    DBG_SendMessage(DBG_MSG_TASK_STATE, APP_VER_DBG);
    //DBG_SendMessage(DBG_MSG_TASK_STATE, "Default Task Start\r\n");

    /* Create WiFi Control Task */
    xTaskCreate( WiFi_ControlTask,
                "WiFi",
                CFG_STACK_WIFI,
                (void *) 0,
                CFG_PRIORITY_WIFI,
                NULL);

    /* Create Client Communication Task */
    xTaskCreate( Client_CommTask,
                "Client",
                CFG_STACK_CLIENT,
                (void *) 0,
                CFG_PRIORITY_CLIENT,
                NULL);

    /* Create Motor Control Task */
    xTaskCreate( Motor_ControlTask,
                "Motor",
                CFG_STACK_MOTOR,
                (void *) 0,
                CFG_PRIORITY_MOTOR,
                NULL);

    /* Create Display Task */
    xTaskCreate( Disp_ShowTask,
                "Display",
                CFG_STACK_DISPLAY,
                (void *) 0,
                CFG_PRIORITY_DISPLAY,
                NULL);

    /* Create Camera Photo Task */
    xTaskCreate( Camera_PhotoTask,
                "Camera",
                CFG_STACK_CAMERA,
                (void *) 0,
                CFG_PRIORITY_CAMERA,
                NULL);

    /* Create Camera Save Task */
    xTaskCreate( Camera_SaveTask,
                "Save",
                CFG_STACK_SAVE,
                (void *) 0,
                CFG_PRIORITY_SAVE,
                NULL);

#ifdef EN_DEBUG
    /* Create Debug message print task for program state and information */
    xTaskCreate(DBG_PrintTask,
                "Debug",
                CFG_STACK_DEBUG,
                (void *) 0,
                CFG_PRIORITY_DEBUG,
                NULL);
#endif

    /* Infinite loop */
    for(;;)
    {
        if(HAL_GPIO_ReadPin(KEY1_GPIO_Port, KEY1_Pin) == GPIO_PIN_RESET)
        {
            key_press_time++;

            /* long press 3second to erase config */
            if(key_press_time > 30)
            {
                Mem_ReadConfig();
            }
        }
        else
        {
            key_press_time = 0;
        }

        osDelay(100);
    }
    /* USER CODE END 5 */
}

void HAL_TIM_PeriodElapsedCallback(TIM_HandleTypeDef *htim)
{
    if (htim->Instance == TIM1) {
        HAL_IncTick();
    }
    /* USER CODE BEGIN Callback 1 */

    /* Motor pwm timer callback */
    if (htim->Instance == MOTOR_TIMER)
    {
        Motor_StepControl_IRQ();
    }

    /* USER CODE END Callback 1 */
}

void _Error_Handler(char * file, int line)
{
    while(1)
    {
    }
}

/************************ (C) COPYRIGHT STMicroelectronics *****END OF FILE****/

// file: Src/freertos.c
/**
  ******************************************************************************
  * File Name          : freertos.c
  * Description        : Code for freertos applications
  ******************************************************************************
  * This notice applies to any and all portions of this file
  * that are not between comment pairs USER CODE BEGIN and
  * USER CODE END. Other portions of this file, whether
  * inserted by the user or by software development tools
  * are owned by their respective copyright owners.
  *
  * Copyright (c) 2018 STMicroelectronics International N.V.
  * All rights reserved.
  *
  * Redistribution and use in source and binary forms, with or without
  * modification, are permitted, provided that the following conditions are met:
  *
  * 1. Redistribution of source code must retain the above copyright notice,
  *    this list of conditions and the following disclaimer.
  * 2. Redistributions in binary form must reproduce the above copyright notice,
  *    this list of conditions and the following disclaimer in the documentation
  *    and/or other materials provided with the distribution.
  * 3. Neither the name of STMicroelectronics nor the names of other
  *    contributors to this software may be used to endorse or promote products
  *    derived from this software without specific written permission.
  * 4. This software, including modifications and/or derivative works of this
  *    software, must execute solely and exclusively on microcontroller or
  *    microprocessor devices manufactured by or for STMicroelectronics.
  * 5. Redistribution and use of this software other than as permitted under
  *    this license is void and will automatically terminate your rights under
  *    this license.
  *
  * THIS SOFTWARE IS PROVIDED BY STMICROELECTRONICS AND CONTRIBUTORS "AS IS"
  * AND ANY EXPRESS, IMPLIED OR STATUTORY WARRANTIES, INCLUDING, BUT NOT
  * LIMITED TO, THE IMPLIED WARRANTIES OF MERCHANTABILITY, FITNESS FOR A
  * PARTICULAR PURPOSE AND NON-INFRINGEMENT OF THIRD PARTY INTELLECTUAL PROPERTY
  * RIGHTS ARE DISCLAIMED TO THE FULLEST EXTENT PERMITTED BY LAW. IN NO EVENT
  * SHALL STMICROELECTRONICS OR CONTRIBUTORS BE LIABLE FOR ANY DIRECT, INDIRECT,
  * INCIDENTAL, SPECIAL, EXEMPLARY, OR CONSEQUENTIAL DAMAGES (INCLUDING, BUT NOT
  * LIMITED TO, PROCUREMENT OF SUBSTITUTE GOODS OR SERVICES; LOSS OF USE, DATA,
  * OR PROFITS; OR BUSINESS INTERRUPTION) HOWEVER CAUSED AND ON ANY THEORY OF
  * LIABILITY, WHETHER IN CONTRACT, STRICT LIABILITY, OR TORT (INCLUDING
  * NEGLIGENCE OR OTHERWISE) ARISING IN ANY WAY OUT OF THE USE OF THIS SOFTWARE,
  * EVEN IF ADVISED OF THE POSSIBILITY OF SUCH DAMAGE.
  *
  ******************************************************************************
  */

#include "FreeRTOS.h"
#include "task.h"

/* Hook prototypes */
void vApplicationIdleHook(void);
void vApplicationMallocFailedHook(void);

/* USER CODE BEGIN 2 */
__weak void vApplicationIdleHook( void )
{
   /* vApplicationIdleHook() will only be called if configUSE_IDLE_HOOK is set
   to 1 in FreeRTOSConfig.h. It will be called on each iteration of the idle
   task. It is essential that code added to this hook function never attempts
   to block in any way (for example, call xQueueReceive() with a block time
   specified, or call vTaskDelay()). If the application makes use of the
   vTaskDelete() API function (as this demo application does) then it is also
   important that vApplicationIdleHook() is permitted to return to its calling
   function, because it is the responsibility of the idle task to clean up
   memory allocated by the kernel to any task that has since been deleted. */
}
/* USER CODE END 2 */

/* USER CODE BEGIN 5 */
__weak void vApplicationMallocFailedHook(void)
{
   /* vApplicationMallocFailedHook() will only be called if
   configUSE_MALLOC_FAILED_HOOK is set to 1 in FreeRTOSConfig.h. It is a hook
   function that will get called if a call to pvPortMalloc() fails.
   pvPortMalloc() is called internally by the kernel whenever a task, queue,
   timer or semaphore is created. It is also called by various parts of the
   demo application. If heap_1.c or heap_2.c are used, then the size of the
   heap available to pvPortMalloc() is defined by configTOTAL_HEAP_SIZE in
   FreeRTOSConfig.h, and the xPortGetFreeHeapSize() API function can be used
   to query the size of free heap space that remains (although it does not
   provide information on how the remaining heap might be fragmented). */
}
/* USER CODE END 5 */

/************************ (C) COPYRIGHT STMicroelectronics *****END OF FILE****/
